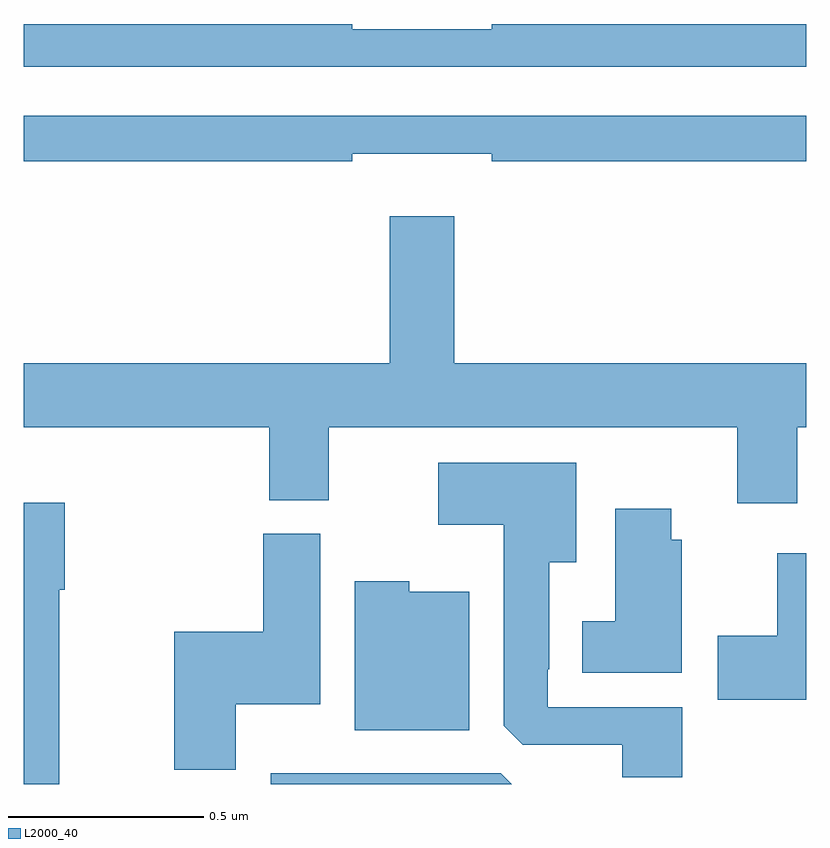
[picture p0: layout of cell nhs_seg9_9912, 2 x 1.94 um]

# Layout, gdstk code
import gdstk
lib = gdstk.Library(unit=1e-6, precision=1e-09)
def P(c, l, *ps):  # polygons
    for p in ps: c.add(gdstk.Polygon(p, *l))
L2000_40 = (2000, 40)

nhs_seg9_9912 = lib.new_cell('nhs_seg9_9912')
P(nhs_seg9_9912, L2000_40, [(238,1205.443),(237.196,1205.443),(237.196,1205.43),(236.84,1205.43),(236.84,1205.443),(236,1205.443),(236,1205.334),(238,1205.334)],
  [(236.84,1205.111),(237.196,1205.111),(237.196,1205.092),(238,1205.092),(238,1205.208),(236,1205.208),(236,1205.092),(236.84,1205.092)],
  [(237.977,1204.412),(238,1204.412),(238,1204.576),(237.1,1204.576),(237.1,1204.951),(236.936,1204.951),(236.936,1204.576),(236,1204.576),(236,1204.412),(236.627,1204.412),(236.627,1204.225),(236.779,1204.225),(236.779,1204.412),(237.824,1204.412),(237.824,1204.218),(237.977,1204.218)],
  [(237.683,1203.696),(237.339,1203.696),(237.339,1203.793),(237.343,1203.793),(237.343,1204.067),(237.412,1204.067),(237.412,1204.321),(237.06,1204.321),(237.06,1204.163),(237.227,1204.163),(237.227,1203.649),(237.276,1203.6),(237.53,1203.6),(237.53,1203.517),(237.683,1203.517)],
  [(236.09,1203.996),(236.105,1203.996),(236.105,1204.219),(236,1204.219),(236,1203.5),(236.09,1203.5)],
  [(237.682,1204.125),(237.655,1204.125),(237.655,1204.204),(237.512,1204.204),(237.512,1203.916),(237.428,1203.916),(237.428,1203.785),(237.682,1203.785)],
  [(236.542,1203.704),(236.758,1203.704),(236.758,1204.14),(236.612,1204.14),(236.612,1203.889),(236.384,1203.889),(236.384,1203.537),(236.542,1203.537)],
  [(238,1204.09),(237.926,1204.09),(237.926,1203.879),(237.774,1203.879),(237.774,1203.716),(238,1203.716)],
  [(237.139,1203.991),(236.985,1203.991),(236.985,1204.018),(236.846,1204.018),(236.846,1203.638),(237.139,1203.638)],
  [(237.219,1203.528),(236.631,1203.528),(236.631,1203.5),(237.247,1203.5)])

lib.write_gds('nhs_seg9_9912.gds')
